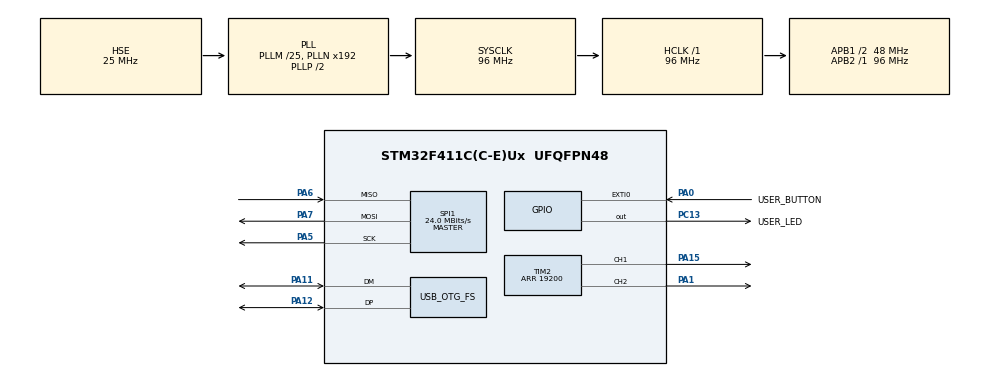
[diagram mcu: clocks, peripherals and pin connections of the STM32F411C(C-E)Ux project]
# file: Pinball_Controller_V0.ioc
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FREERTOS.Tasks01=init_task,24,128,start_init_task,Default,NULL,Dynamic,NULL,NULL
FREERTOS.configENABLE_FPU=1
Mcu.Family=STM32F4
Mcu.Name=STM32F411C(C-E)Ux
Mcu.Package=UFQFPN48
NVIC.EXTI0_IRQn=true\:5\:0\:false\:false\:true\:true\:true\:true
NVIC.OTG_FS_IRQn=true\:5\:0\:false\:false\:true\:true\:false\:true
NVIC.PriorityGroup=NVIC_PRIORITYGROUP_4
NVIC.TIM1_BRK_TIM9_IRQn=true\:0\:0\:false\:false\:true\:false\:false\:true
NVIC.TimeBase=TIM1_BRK_TIM9_IRQn
NVIC.TimeBaseIP=TIM9
PA0-WKUP.GPIO_Label=USER_BUTTON
PA0-WKUP.GPIO_ModeDefaultEXTI=GPIO_MODE_IT_RISING_FALLING
PA0-WKUP.GPIO_PuPd=GPIO_PULLUP
PA0-WKUP.Signal=GPXTI0
PA1.Signal=S_TIM2_CH2
PA11.Mode=Device_Only
PA11.Signal=USB_OTG_FS_DM
PA12.Mode=Device_Only
PA12.Signal=USB_OTG_FS_DP
PA13.Mode=Serial_Wire
PA13.Signal=SYS_JTMS-SWDIO
PA14.Mode=Serial_Wire
PA14.Signal=SYS_JTCK-SWCLK
PA15.Signal=S_TIM2_CH1_ETR
PA5.Mode=Full_Duplex_Master
PA5.Signal=SPI1_SCK
PA6.Mode=Full_Duplex_Master
PA6.Signal=SPI1_MISO
PA7.Mode=Full_Duplex_Master
PA7.Signal=SPI1_MOSI
PC13-ANTI_TAMP.GPIO_Label=USER_LED
PC13-ANTI_TAMP.Signal=GPIO_Output
PH0\ -\ OSC_IN.Mode=HSE-External-Oscillator
PH0\ -\ OSC_IN.Signal=RCC_OSC_IN
PH1\ -\ OSC_OUT.Mode=HSE-External-Oscillator
PH1\ -\ OSC_OUT.Signal=RCC_OSC_OUT
ProjectManager.HeapSize=0x200
ProjectManager.StackSize=0x400
ProjectManager.TargetToolchain=STM32CubeIDE
RCC.48MHZClocksFreq_Value=48000000
RCC.AHBFreq_Value=96000000
RCC.APB1CLKDivider=RCC_HCLK_DIV2
RCC.APB1Freq_Value=48000000
RCC.APB1TimFreq_Value=96000000
RCC.APB2Freq_Value=96000000
RCC.APB2TimFreq_Value=96000000
RCC.CortexFreq_Value=96000000
RCC.EnbaleCSS=true
RCC.HCLKFreq_Value=96000000
RCC.HSE_VALUE=25000000
RCC.HSI_VALUE=16000000
RCC.LSE_VALUE=32768
RCC.PLLM=25
RCC.SYSCLKFreq_VALUE=96000000
RCC.SYSCLKSource=RCC_SYSCLKSOURCE_PLLCLK
RCC.VCOOutputFreq_Value=192000000
SH.S_TIM2_CH1_ETR.0=TIM2_CH1,PWM Generation1 CH1
SH.S_TIM2_CH2.0=TIM2_CH2,PWM Generation2 CH2
SPI1.BaudRatePrescaler=SPI_BAUDRATEPRESCALER_4
SPI1.CalculateBaudRate=24.0 MBits/s
SPI1.Direction=SPI_DIRECTION_2LINES
SPI1.Mode=SPI_MODE_MASTER
SPI1.VirtualType=VM_MASTER
TIM2.Channel-PWM\ Generation1\ CH1=TIM_CHANNEL_1
TIM2.Channel-PWM\ Generation2\ CH2=TIM_CHANNEL_2
TIM2.OCPolarity_2=TIM_OCPOLARITY_LOW
TIM2.Period=19200
TIM2.Pulse-PWM\ Generation2\ CH2=1000
USB_DEVICE.CLASS_NAME_FS=CDC
USB_DEVICE.VirtualMode=Cdc
USB_DEVICE.VirtualModeFS=Cdc_FS
USB_OTG_FS.VirtualMode=Device_Only
VP_FREERTOS_VS_CMSIS_V2.Mode=CMSIS_V2
VP_SYS_VS_tim9.Mode=TIM9
VP_USB_DEVICE_VS_USB_DEVICE_CDC_FS.Mode=CDC_FS
board=custom

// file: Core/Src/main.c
/* USER CODE BEGIN Header */
/**
  ******************************************************************************
  * @file           : main.c
  * @brief          : Main program body
  ******************************************************************************
  * @attention
  *
  * <h2><center>&copy; Copyright (c) 2021 STMicroelectronics.
  * All rights reserved.</center></h2>
  *
  * This software component is licensed by ST under BSD 3-Clause license,
  * the "License"; You may not use this file except in compliance with the
  * License. You may obtain a copy of the License at:
  *                        opensource.org/licenses/BSD-3-Clause
  *
  ******************************************************************************
  */
/* USER CODE END Header */
#include "main.h"
#include "cmsis_os.h"
#include "usb_device.h"

/* USER CODE BEGIN Includes */
#include "usbd_cdc_if.h"
/* USER CODE END Includes */

SPI_HandleTypeDef hspi1;

TIM_HandleTypeDef htim2;

/* Definitions for init_task */
osThreadId_t init_taskHandle;
const osThreadAttr_t init_task_attributes = {
  .name = "init_task",
  .priority = (osPriority_t) osPriorityNormal,
  .stack_size = 128 * 4
};
/* USER CODE BEGIN PV */

// thread handler for solenoid driver 1
osThreadId_t solenoid_driverHandle;
const osThreadAttr_t solenoid_driver_attributes = {
  .name = "solenoid_driver",
  .priority = (osPriority_t) osPriorityNormal,
  .stack_size = 128 * 4
};

volatile uint16_t status_button1 = 0;

/* USER CODE END PV */

void SystemClock_Config(void);
static void MX_GPIO_Init(void);
static void MX_TIM2_Init(void);
static void MX_SPI1_Init(void);
void start_init_task(void *argument);

int main(void)
{

  /* MCU Configuration--------------------------------------------------------*/

  /* Reset of all peripherals, Initializes the Flash interface and the Systick. */
  HAL_Init();

  /* Configure the system clock */
  SystemClock_Config();

  /* Initialize all configured peripherals */
  MX_GPIO_Init();
  MX_TIM2_Init();
  MX_SPI1_Init();

  /* Init scheduler */
  osKernelInitialize();

  /* Create the thread(s) */
  /* creation of init_task */
  init_taskHandle = osThreadNew(start_init_task, NULL, &init_task_attributes);

  /* USER CODE BEGIN RTOS_THREADS */

  // solenoid_driverHandle = osThreadNew(start_solenoid_driver, NULL, &solenoid_driver_attributes);

  /* USER CODE END RTOS_THREADS */

  /* Start scheduler */
  osKernelStart();

  /* We should never get here as control is now taken by the scheduler */
  /* Infinite loop */
  while (1)
  {

  }
}

void SystemClock_Config(void)
{
  RCC_OscInitTypeDef RCC_OscInitStruct = {0};
  RCC_ClkInitTypeDef RCC_ClkInitStruct = {0};

  /** Configure the main internal regulator output voltage
  */
  __HAL_RCC_PWR_CLK_ENABLE();
  __HAL_PWR_VOLTAGESCALING_CONFIG(PWR_REGULATOR_VOLTAGE_SCALE1);
  /** Initializes the RCC Oscillators according to the specified parameters
  * in the RCC_OscInitTypeDef structure.
  */
  RCC_OscInitStruct.OscillatorType = RCC_OSCILLATORTYPE_HSE;
  RCC_OscInitStruct.HSEState = RCC_HSE_ON;
  RCC_OscInitStruct.PLL.PLLState = RCC_PLL_ON;
  RCC_OscInitStruct.PLL.PLLSource = RCC_PLLSOURCE_HSE;
  RCC_OscInitStruct.PLL.PLLM = 25;
  RCC_OscInitStruct.PLL.PLLN = 192;
  RCC_OscInitStruct.PLL.PLLP = RCC_PLLP_DIV2;
  RCC_OscInitStruct.PLL.PLLQ = 4;
  if (HAL_RCC_OscConfig(&RCC_OscInitStruct) != HAL_OK)
  {
    Error_Handler();
  }
  /** Initializes the CPU, AHB and APB buses clocks
  */
  RCC_ClkInitStruct.ClockType = RCC_CLOCKTYPE_HCLK|RCC_CLOCKTYPE_SYSCLK
                              |RCC_CLOCKTYPE_PCLK1|RCC_CLOCKTYPE_PCLK2;
  RCC_ClkInitStruct.SYSCLKSource = RCC_SYSCLKSOURCE_PLLCLK;
  RCC_ClkInitStruct.AHBCLKDivider = RCC_SYSCLK_DIV1;
  RCC_ClkInitStruct.APB1CLKDivider = RCC_HCLK_DIV2;
  RCC_ClkInitStruct.APB2CLKDivider = RCC_HCLK_DIV1;

  if (HAL_RCC_ClockConfig(&RCC_ClkInitStruct, FLASH_LATENCY_3) != HAL_OK)
  {
    Error_Handler();
  }
  /** Enables the Clock Security System
  */
  HAL_RCC_EnableCSS();
}

static void MX_SPI1_Init(void)
{

  /* SPI1 parameter configuration*/
  hspi1.Instance = SPI1;
  hspi1.Init.Mode = SPI_MODE_MASTER;
  hspi1.Init.Direction = SPI_DIRECTION_2LINES;
  hspi1.Init.DataSize = SPI_DATASIZE_8BIT;
  hspi1.Init.CLKPolarity = SPI_POLARITY_LOW;
  hspi1.Init.CLKPhase = SPI_PHASE_1EDGE;
  hspi1.Init.NSS = SPI_NSS_SOFT;
  hspi1.Init.BaudRatePrescaler = SPI_BAUDRATEPRESCALER_4;
  hspi1.Init.FirstBit = SPI_FIRSTBIT_MSB;
  hspi1.Init.TIMode = SPI_TIMODE_DISABLE;
  hspi1.Init.CRCCalculation = SPI_CRCCALCULATION_DISABLE;
  hspi1.Init.CRCPolynomial = 10;
  if (HAL_SPI_Init(&hspi1) != HAL_OK)
  {
    Error_Handler();
  }

}

static void MX_TIM2_Init(void)
{

  TIM_MasterConfigTypeDef sMasterConfig = {0};
  TIM_OC_InitTypeDef sConfigOC = {0};

  htim2.Instance = TIM2;
  htim2.Init.Prescaler = 0;
  htim2.Init.CounterMode = TIM_COUNTERMODE_UP;
  htim2.Init.Period = 19200;
  htim2.Init.ClockDivision = TIM_CLOCKDIVISION_DIV1;
  htim2.Init.AutoReloadPreload = TIM_AUTORELOAD_PRELOAD_DISABLE;
  if (HAL_TIM_PWM_Init(&htim2) != HAL_OK)
  {
    Error_Handler();
  }
  sMasterConfig.MasterOutputTrigger = TIM_TRGO_RESET;
  sMasterConfig.MasterSlaveMode = TIM_MASTERSLAVEMODE_DISABLE;
  if (HAL_TIMEx_MasterConfigSynchronization(&htim2, &sMasterConfig) != HAL_OK)
  {
    Error_Handler();
  }
  sConfigOC.OCMode = TIM_OCMODE_PWM1;
  sConfigOC.Pulse = 0;
  sConfigOC.OCPolarity = TIM_OCPOLARITY_HIGH;
  sConfigOC.OCFastMode = TIM_OCFAST_DISABLE;
  if (HAL_TIM_PWM_ConfigChannel(&htim2, &sConfigOC, TIM_CHANNEL_1) != HAL_OK)
  {
    Error_Handler();
  }
  sConfigOC.Pulse = 1000;
  sConfigOC.OCPolarity = TIM_OCPOLARITY_LOW;
  if (HAL_TIM_PWM_ConfigChannel(&htim2, &sConfigOC, TIM_CHANNEL_2) != HAL_OK)
  {
    Error_Handler();
  }
  HAL_TIM_MspPostInit(&htim2);

}

static void MX_GPIO_Init(void)
{
  GPIO_InitTypeDef GPIO_InitStruct = {0};

  /* GPIO Ports Clock Enable */
  __HAL_RCC_GPIOC_CLK_ENABLE();
  __HAL_RCC_GPIOH_CLK_ENABLE();
  __HAL_RCC_GPIOA_CLK_ENABLE();

  /*Configure GPIO pin Output Level */
  HAL_GPIO_WritePin(USER_LED_GPIO_Port, USER_LED_Pin, GPIO_PIN_RESET);

  /*Configure GPIO pin : USER_LED_Pin */
  GPIO_InitStruct.Pin = USER_LED_Pin;
  GPIO_InitStruct.Mode = GPIO_MODE_OUTPUT_PP;
  GPIO_InitStruct.Pull = GPIO_NOPULL;
  GPIO_InitStruct.Speed = GPIO_SPEED_FREQ_LOW;
  HAL_GPIO_Init(USER_LED_GPIO_Port, &GPIO_InitStruct);

  /*Configure GPIO pin : USER_BUTTON_Pin */
  GPIO_InitStruct.Pin = USER_BUTTON_Pin;
  GPIO_InitStruct.Mode = GPIO_MODE_IT_RISING_FALLING;
  GPIO_InitStruct.Pull = GPIO_PULLUP;
  HAL_GPIO_Init(USER_BUTTON_GPIO_Port, &GPIO_InitStruct);

  /* EXTI interrupt init*/
  HAL_NVIC_SetPriority(EXTI0_IRQn, 5, 0);
  HAL_NVIC_EnableIRQ(EXTI0_IRQn);

}

/* USER CODE BEGIN 4 */

void HAL_GPIO_EXTI_Callback( uint16_t GPIO_Pin)
{

	if(GPIO_Pin == USER_BUTTON_Pin)
	{
		if(HAL_GPIO_ReadPin(USER_BUTTON_GPIO_Port, USER_BUTTON_Pin))
		{
			status_button1 = 0;
		}
		else
		{
			status_button1 = 1;
		}
	}
}

/**
  * @brief  Function implementing the solenoid_driver thread.
  * @param  argument: struct of Solenoid_task_argument, to transfer interface options like timer and status_buttonQ
  * @retval None
  */
void start_solenoid_driver(void *argument)
{

	// convert argument to struct
	Solenoid_task_argument *Sta = (Solenoid_task_argument*)(argument);

	// save struct in local variables to prevent errors when it is reused
	volatile uint16_t *status_button = Sta->status_button;
	TIM_HandleTypeDef *htim = Sta->htimX;
	TIM_TypeDef *TIM = Sta->TIMX;
	unsigned timer_channel = Sta->timer_channel;

  uint16_t prev_status_button = *status_button;
  uint16_t duty = 0, output = 0;

  const float iir_const = 0.05;
  HAL_TIM_PWM_Start(htim, timer_channel);

  /* Infinite loop */
	for(;;)
	{

		// solenoid should be enalbed
		if(*status_button)
		{
			// calculate duty value: iir approach
			duty = duty * (1 - iir_const) + output * iir_const;

			// if initial hit: do nothing
			if(prev_status_button != *status_button)
			{
			  output = MAX_PWM;
			}
			// if duty cycle exceeds max. rated duty cycle
			else if(duty > MAX_DUTY_CYCLE && output > MAX_DUTY_CYCLE)
			{
			  output -= 1920;
			}
			// if duty cycle below max_duty cycle
			else if(duty < MAX_DUTY_CYCLE && output < MAX_DUTY_CYCLE)
			{
			  output = MAX_DUTY_CYCLE;
			}

			HAL_GPIO_WritePin(USER_LED_GPIO_Port, USER_LED_Pin, SET);

		}
		else
		{
			HAL_GPIO_WritePin(USER_LED_GPIO_Port, USER_LED_Pin, RESET);
			output = 0;
		}

		// write pwm signal:
		// to timer instance transfered in arguments
		TIM->CCR2 = output;

		prev_status_button = *status_button;

		osDelay(50);			// delay for 50 ms

	}
  /* USER CODE END 5 */
}

/* USER CODE END 4 */

void start_init_task(void *argument)
{
  /* init code for USB_DEVICE */
  MX_USB_DEVICE_Init();
  /* USER CODE BEGIN 5 */

  // init solenoid task:
  Solenoid_task_argument sta1;
  sta1.htimX = &htim2;
  sta1.TIMX = TIM2;
  sta1.timer_channel = TIM_CHANNEL_2;
  sta1.status_button = &status_button1;
  solenoid_driverHandle = osThreadNew(start_solenoid_driver, (void*)(&sta1), &solenoid_driver_attributes);

  osThreadExit();

  /* USER CODE END 5 */
}

 /**
  * @brief  Period elapsed callback in non blocking mode
  * @note   This function is called  when TIM9 interrupt took place, inside
  * HAL_TIM_IRQHandler(). It makes a direct call to HAL_IncTick() to increment
  * a global variable "uwTick" used as application time base.
  * @param  htim : TIM handle
  * @retval None
  */
void HAL_TIM_PeriodElapsedCallback(TIM_HandleTypeDef *htim)
{
  if (htim->Instance == TIM9) {
    HAL_IncTick();
  }
}

void Error_Handler(void)
{
  /* USER CODE BEGIN Error_Handler_Debug */

	char error_handler_message[120];
	sprintf(error_handler_message, "%ld ticks: Error-Handler\r\n", xTaskGetTickCount());
	CDC_Transmit_FS( (uint8_t*) error_handler_message, strlen(error_handler_message));

  /* User can add his own implementation to report the HAL error return state */
  __disable_irq();
  while (1)
  {
  }
  /* USER CODE END Error_Handler_Debug */
}

/************************ (C) COPYRIGHT STMicroelectronics *****END OF FILE****/
